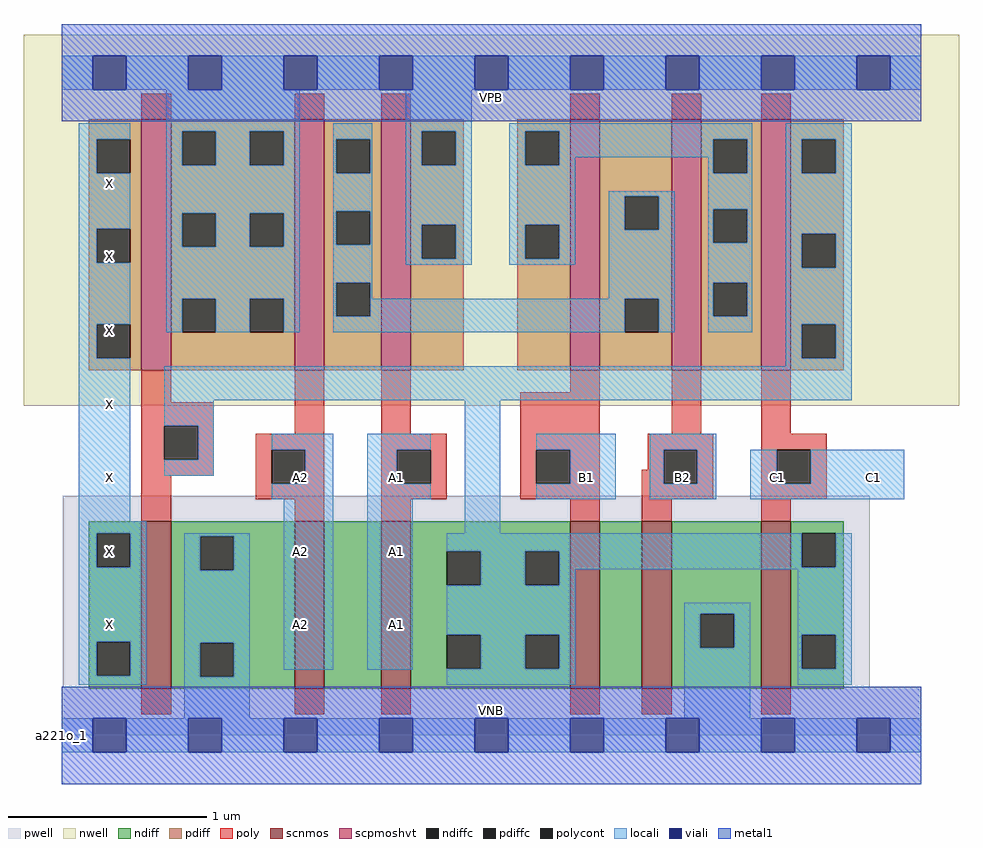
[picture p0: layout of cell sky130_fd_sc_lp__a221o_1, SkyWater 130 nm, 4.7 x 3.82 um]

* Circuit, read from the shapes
.subckt sky130_fd_sc_lp__a221o_1 A1 A2 B1 B2 C1 VGND VNB VPB VPWR X
XM1 VGND n1 X VNB sky130_fd_pr__nfet_01v8 w=0.84 l=0.15
XM2 n2 A2 VGND VNB sky130_fd_pr__nfet_01v8 w=0.84 l=0.15
XM3 n1 A1 n2 VNB sky130_fd_pr__nfet_01v8 w=0.84 l=0.15
XM4 n3 B1 n1 VNB sky130_fd_pr__nfet_01v8 w=0.84 l=0.15
XM5 VGND B2 n3 VNB sky130_fd_pr__nfet_01v8 w=0.84 l=0.15
XM6 n1 C1 VGND VNB sky130_fd_pr__nfet_01v8 w=0.84 l=0.15
XM7 VPWR n1 X VPB sky130_fd_pr__pfet_01v8_hvt w=1.26 l=0.15
XM8 n4 A2 VPWR VPB sky130_fd_pr__pfet_01v8_hvt w=1.26 l=0.15
XM9 VPWR A1 n4 VPB sky130_fd_pr__pfet_01v8_hvt w=1.26 l=0.15
XM10 n4 B1 n5 VPB sky130_fd_pr__pfet_01v8_hvt w=1.26 l=0.15
XM11 n5 B2 n4 VPB sky130_fd_pr__pfet_01v8_hvt w=1.26 l=0.15
XM12 n1 C1 n5 VPB sky130_fd_pr__pfet_01v8_hvt w=1.26 l=0.15
.ends

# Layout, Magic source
magic
tech sky130A
magscale 1 2
<< nwell >>
rect -38 331 902 704
<< pwell >>
rect 1 49 812 241
rect 0 0 864 49
<< scnmos >>
rect 80 47 110 215
rect 234 47 264 215
rect 321 47 351 215
rect 511 47 541 215
rect 583 47 613 215
rect 703 47 733 215
<< scpmoshvt >>
rect 80 367 110 619
rect 234 367 264 619
rect 321 367 351 619
rect 511 367 541 619
rect 613 367 643 619
rect 703 367 733 619
<< ndiff >>
rect 27 203 80 215
rect 27 169 35 203
rect 69 169 80 203
rect 27 94 80 169
rect 27 60 35 94
rect 69 60 80 94
rect 27 47 80 60
rect 110 200 234 215
rect 110 166 139 200
rect 173 166 234 200
rect 110 93 234 166
rect 110 59 139 93
rect 173 59 234 93
rect 110 47 234 59
rect 264 47 321 215
rect 351 185 511 215
rect 351 151 387 185
rect 421 151 466 185
rect 500 151 511 185
rect 351 101 511 151
rect 351 67 387 101
rect 421 67 466 101
rect 500 67 511 101
rect 351 47 511 67
rect 541 47 583 215
rect 613 122 703 215
rect 613 88 642 122
rect 676 88 703 122
rect 613 47 703 88
rect 733 203 786 215
rect 733 169 744 203
rect 778 169 786 203
rect 733 101 786 169
rect 733 67 744 101
rect 778 67 786 101
rect 733 47 786 67
<< pdiff >>
rect 27 599 80 619
rect 27 565 35 599
rect 69 565 80 599
rect 27 509 80 565
rect 27 475 35 509
rect 69 475 80 509
rect 27 413 80 475
rect 27 379 35 413
rect 69 379 80 413
rect 27 367 80 379
rect 110 607 234 619
rect 110 573 121 607
rect 155 573 189 607
rect 223 573 234 607
rect 110 525 234 573
rect 110 491 121 525
rect 155 491 189 525
rect 223 491 234 525
rect 110 439 234 491
rect 110 405 121 439
rect 155 405 189 439
rect 223 405 234 439
rect 110 367 234 405
rect 264 599 321 619
rect 264 565 276 599
rect 310 565 321 599
rect 264 527 321 565
rect 264 493 276 527
rect 310 493 321 527
rect 264 455 321 493
rect 264 421 276 455
rect 310 421 321 455
rect 264 367 321 421
rect 351 607 404 619
rect 351 573 362 607
rect 396 573 404 607
rect 351 513 404 573
rect 351 479 362 513
rect 396 479 404 513
rect 351 367 404 479
rect 458 607 511 619
rect 458 573 466 607
rect 500 573 511 607
rect 458 513 511 573
rect 458 479 466 513
rect 500 479 511 513
rect 458 367 511 479
rect 541 542 613 619
rect 541 508 566 542
rect 600 508 613 542
rect 541 439 613 508
rect 541 405 566 439
rect 600 405 613 439
rect 541 367 613 405
rect 643 599 703 619
rect 643 565 655 599
rect 689 565 703 599
rect 643 529 703 565
rect 643 495 655 529
rect 689 495 703 529
rect 643 455 703 495
rect 643 421 655 455
rect 689 421 703 455
rect 643 367 703 421
rect 733 599 786 619
rect 733 565 744 599
rect 778 565 786 599
rect 733 504 786 565
rect 733 470 744 504
rect 778 470 786 504
rect 733 413 786 470
rect 733 379 744 413
rect 778 379 786 413
rect 733 367 786 379
<< ndiffc >>
rect 35 169 69 203
rect 35 60 69 94
rect 139 166 173 200
rect 139 59 173 93
rect 387 151 421 185
rect 466 151 500 185
rect 387 67 421 101
rect 466 67 500 101
rect 642 88 676 122
rect 744 169 778 203
rect 744 67 778 101
<< pdiffc >>
rect 35 565 69 599
rect 35 475 69 509
rect 35 379 69 413
rect 121 573 155 607
rect 189 573 223 607
rect 121 491 155 525
rect 189 491 223 525
rect 121 405 155 439
rect 189 405 223 439
rect 276 565 310 599
rect 276 493 310 527
rect 276 421 310 455
rect 362 573 396 607
rect 362 479 396 513
rect 466 573 500 607
rect 466 479 500 513
rect 566 508 600 542
rect 566 405 600 439
rect 655 565 689 599
rect 655 495 689 529
rect 655 421 689 455
rect 744 565 778 599
rect 744 470 778 504
rect 744 379 778 413
<< poly >>
rect 80 619 110 645
rect 234 619 264 645
rect 321 619 351 645
rect 511 619 541 645
rect 613 619 643 645
rect 703 619 733 645
rect 80 335 110 367
rect 80 311 153 335
rect 80 277 103 311
rect 137 277 153 311
rect 234 303 264 367
rect 80 261 153 277
rect 195 287 264 303
rect 80 215 110 261
rect 195 253 211 287
rect 245 253 264 287
rect 195 237 264 253
rect 234 215 264 237
rect 321 303 351 367
rect 511 345 541 367
rect 321 287 387 303
rect 321 253 337 287
rect 371 253 387 287
rect 321 237 387 253
rect 461 287 541 345
rect 613 303 643 367
rect 703 303 733 367
rect 461 253 477 287
rect 511 253 541 287
rect 589 287 655 303
rect 589 267 605 287
rect 461 237 541 253
rect 321 215 351 237
rect 511 215 541 237
rect 583 253 605 267
rect 639 253 655 287
rect 583 237 655 253
rect 703 287 769 303
rect 703 253 719 287
rect 753 253 769 287
rect 703 237 769 253
rect 583 215 613 237
rect 703 215 733 237
rect 80 21 110 47
rect 234 21 264 47
rect 321 21 351 47
rect 511 21 541 47
rect 583 21 613 47
rect 703 21 733 47
<< polycont >>
rect 103 277 137 311
rect 211 253 245 287
rect 337 253 371 287
rect 477 253 511 287
rect 605 253 639 287
rect 719 253 753 287
<< locali >>
rect 0 649 31 683
rect 65 649 127 683
rect 161 649 223 683
rect 257 649 319 683
rect 353 649 415 683
rect 449 649 511 683
rect 545 649 607 683
rect 641 649 703 683
rect 737 649 799 683
rect 833 649 864 683
rect 17 599 69 615
rect 17 565 35 599
rect 17 509 69 565
rect 17 475 35 509
rect 17 413 69 475
rect 17 379 35 413
rect 105 607 239 649
rect 105 573 121 607
rect 155 573 189 607
rect 223 573 239 607
rect 105 525 239 573
rect 105 491 121 525
rect 155 491 189 525
rect 223 491 239 525
rect 105 439 239 491
rect 105 405 121 439
rect 155 405 189 439
rect 223 405 239 439
rect 273 599 312 615
rect 273 565 276 599
rect 310 565 312 599
rect 273 527 312 565
rect 273 493 276 527
rect 310 493 312 527
rect 273 455 312 493
rect 346 607 412 649
rect 346 573 362 607
rect 396 573 412 607
rect 346 513 412 573
rect 346 479 362 513
rect 396 479 412 513
rect 346 473 412 479
rect 450 607 694 615
rect 450 573 466 607
rect 500 599 694 607
rect 500 581 655 599
rect 500 573 516 581
rect 450 513 516 573
rect 650 565 655 581
rect 689 565 694 599
rect 450 479 466 513
rect 500 479 516 513
rect 450 473 516 479
rect 550 542 616 547
rect 550 508 566 542
rect 600 508 616 542
rect 273 421 276 455
rect 310 439 312 455
rect 550 439 616 508
rect 310 421 566 439
rect 273 405 566 421
rect 600 405 616 439
rect 650 529 694 565
rect 650 495 655 529
rect 689 495 694 529
rect 650 455 694 495
rect 650 421 655 455
rect 689 421 694 455
rect 650 405 694 421
rect 728 599 794 615
rect 728 565 744 599
rect 778 565 794 599
rect 728 504 794 565
rect 728 470 744 504
rect 778 470 794 504
rect 728 413 794 470
rect 17 215 69 379
rect 728 379 744 413
rect 778 379 794 413
rect 728 371 794 379
rect 103 337 794 371
rect 103 311 153 337
rect 137 277 153 311
rect 103 261 153 277
rect 211 287 273 303
rect 245 253 273 287
rect 211 237 273 253
rect 17 203 85 215
rect 17 169 35 203
rect 69 169 85 203
rect 17 94 85 169
rect 17 60 35 94
rect 69 60 85 94
rect 17 51 85 60
rect 123 200 189 203
rect 123 166 139 200
rect 173 166 189 200
rect 123 93 189 166
rect 123 59 139 93
rect 173 59 189 93
rect 223 66 273 237
rect 307 287 371 303
rect 307 253 337 287
rect 307 237 371 253
rect 307 66 353 237
rect 405 203 441 337
rect 477 287 557 303
rect 511 253 557 287
rect 477 237 557 253
rect 591 287 658 303
rect 591 253 605 287
rect 639 253 658 287
rect 591 237 658 253
rect 692 253 719 287
rect 753 253 847 287
rect 692 237 847 253
rect 387 185 744 203
rect 421 151 466 185
rect 500 169 744 185
rect 778 169 794 203
rect 500 167 794 169
rect 500 151 516 167
rect 387 101 516 151
rect 421 67 466 101
rect 500 67 516 101
rect 123 17 189 59
rect 387 51 516 67
rect 626 122 692 133
rect 626 88 642 122
rect 676 88 692 122
rect 626 17 692 88
rect 740 101 794 167
rect 740 67 744 101
rect 778 67 794 101
rect 740 51 794 67
rect 0 -17 31 17
rect 65 -17 127 17
rect 161 -17 223 17
rect 257 -17 319 17
rect 353 -17 415 17
rect 449 -17 511 17
rect 545 -17 607 17
rect 641 -17 703 17
rect 737 -17 799 17
rect 833 -17 864 17
<< viali >>
rect 31 649 65 683
rect 127 649 161 683
rect 223 649 257 683
rect 319 649 353 683
rect 415 649 449 683
rect 511 649 545 683
rect 607 649 641 683
rect 703 649 737 683
rect 799 649 833 683
rect 31 -17 65 17
rect 127 -17 161 17
rect 223 -17 257 17
rect 319 -17 353 17
rect 415 -17 449 17
rect 511 -17 545 17
rect 607 -17 641 17
rect 703 -17 737 17
rect 799 -17 833 17
<< metal1 >>
rect 0 683 864 715
rect 0 649 31 683
rect 65 649 127 683
rect 161 649 223 683
rect 257 649 319 683
rect 353 649 415 683
rect 449 649 511 683
rect 545 649 607 683
rect 641 649 703 683
rect 737 649 799 683
rect 833 649 864 683
rect 0 617 864 649
rect 0 17 864 49
rect 0 -17 31 17
rect 65 -17 127 17
rect 161 -17 223 17
rect 257 -17 319 17
rect 353 -17 415 17
rect 449 -17 511 17
rect 545 -17 607 17
rect 641 -17 703 17
rect 737 -17 799 17
rect 833 -17 864 17
rect 0 -49 864 -17
<< labels >>
flabel pwell s 0 0 864 49 0 FreeSans 200 0 0 0 VNB
port 7 nsew ground bidirectional
flabel nwell s 0 617 864 666 0 FreeSans 200 0 0 0 VPB
port 8 nsew power bidirectional
rlabel comment s 0 0 0 0 4 a221o_1
flabel metal1 s 0 617 864 666 0 FreeSans 340 0 0 0 VPWR
port 9 nsew power bidirectional
flabel metal1 s 0 0 864 49 0 FreeSans 340 0 0 0 VGND
port 6 nsew ground bidirectional
flabel locali s 319 94 353 128 0 FreeSans 340 0 0 0 A1
port 1 nsew signal input
flabel locali s 319 168 353 202 0 FreeSans 340 0 0 0 A1
port 1 nsew signal input
flabel locali s 319 242 353 276 0 FreeSans 340 0 0 0 A1
port 1 nsew signal input
flabel locali s 223 94 257 128 0 FreeSans 340 0 0 0 A2
port 2 nsew signal input
flabel locali s 223 168 257 202 0 FreeSans 340 0 0 0 A2
port 2 nsew signal input
flabel locali s 223 242 257 276 0 FreeSans 340 0 0 0 A2
port 2 nsew signal input
flabel locali s 607 242 641 276 0 FreeSans 340 0 0 0 B2
port 4 nsew signal input
flabel locali s 703 242 737 276 0 FreeSans 340 0 0 0 C1
port 5 nsew signal input
flabel locali s 799 242 833 276 0 FreeSans 340 0 0 0 C1
port 5 nsew signal input
flabel locali s 511 242 545 276 0 FreeSans 340 0 0 0 B1
port 3 nsew signal input
flabel locali s 31 94 65 128 0 FreeSans 340 0 0 0 X
port 10 nsew signal output
flabel locali s 31 168 65 202 0 FreeSans 340 0 0 0 X
port 10 nsew signal output
flabel locali s 31 242 65 276 0 FreeSans 340 0 0 0 X
port 10 nsew signal output
flabel locali s 31 316 65 350 0 FreeSans 340 0 0 0 X
port 10 nsew signal output
flabel locali s 31 390 65 424 0 FreeSans 340 0 0 0 X
port 10 nsew signal output
flabel locali s 31 464 65 498 0 FreeSans 340 0 0 0 X
port 10 nsew signal output
flabel locali s 31 538 65 572 0 FreeSans 340 0 0 0 X
port 10 nsew signal output
<< properties >>
string LEFsite unit
string LEFclass CORE
string FIXED_BBOX 0 0 864 666
string GDS_FILE $PDKPATH/libs.ref/sky130_fd_sc_lp/gds/sky130_fd_sc_lp.gds
string LEFsymmetry X Y R90
string GDS_END 6121196
string GDS_START 6112176
<< end >>
